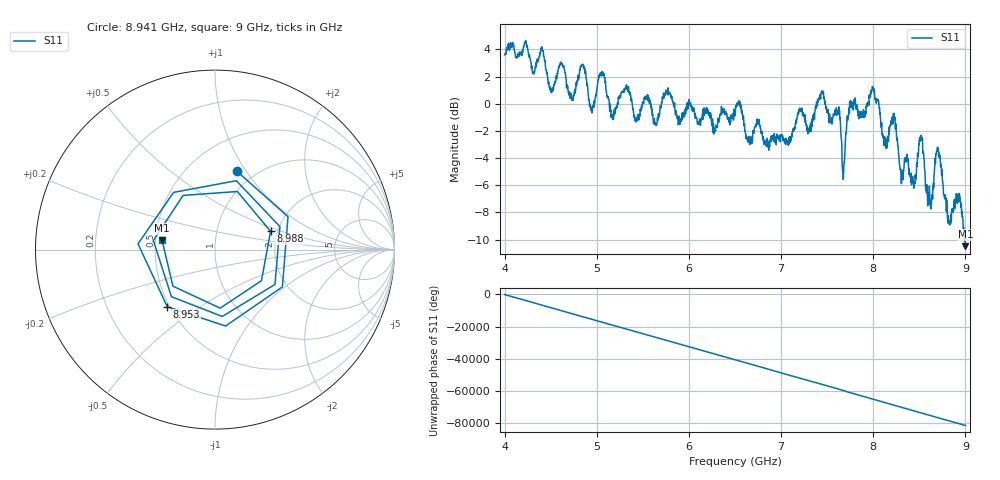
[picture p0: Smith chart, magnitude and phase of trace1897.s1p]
! Created with skrf 1.8.0 (http://scikit-rf.org).
# Hz S RI R 50.0
!freq ReS11 ImS11
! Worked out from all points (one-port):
!   1601 points, 4 GHz to 9 GHz, reference 50 ohm
!   lowest |S11| = -10.5 dB at 9 GHz (marker M1), VSWR 1.85, Z = 27.1 + j3.05 ohm
!   |S11| at or under -10 dB: 8.989999 GHz to 8.991894 GHz (1.895 MHz wide, 0.0211 % of centre); 8.996007 GHz to end of sweep
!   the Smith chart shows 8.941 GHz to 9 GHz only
!   S11 on the Smith chart (normalised r, x): 8.941 GHz: 0.83, +0.91; 8.953 GHz: 0.49, -0.37; 8.988 GHz: 1.83, +0.42; 9 GHz: 0.54, +0.06
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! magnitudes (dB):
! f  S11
! 4 GHz  3.6
! 4.406 GHz  4.0
! 4.506 GHz  0.9
! 4.625 GHz  2.9
! 4.722 GHz  0.5
! 4.847 GHz  2.9
! 4.944 GHz  -0.5
! 5.047 GHz  2.1
! 5.162 GHz  -0.9
! 5.25 GHz  0.5
! 5.875 GHz  -1.1
! 6.5 GHz  -0.5
! 7.125 GHz  -2.0
! 7.444 GHz  0.7
! 7.619 GHz  -0.6
! 7.675 GHz  -5.6
! 7.75 GHz  0.1
! 7.997 GHz  1.2
! 8.375 GHz  -4.3
! 8.441 GHz  -6.2
! 8.519 GHz  -2.3
! 8.616 GHz  -7.4
! 8.703 GHz  -3.3
! 8.825 GHz  -8.8
! 8.941 GHz  -6.9
! 8.953 GHz  -7.6
! 8.988 GHz  -9.7
! 9 GHz  -10.5
